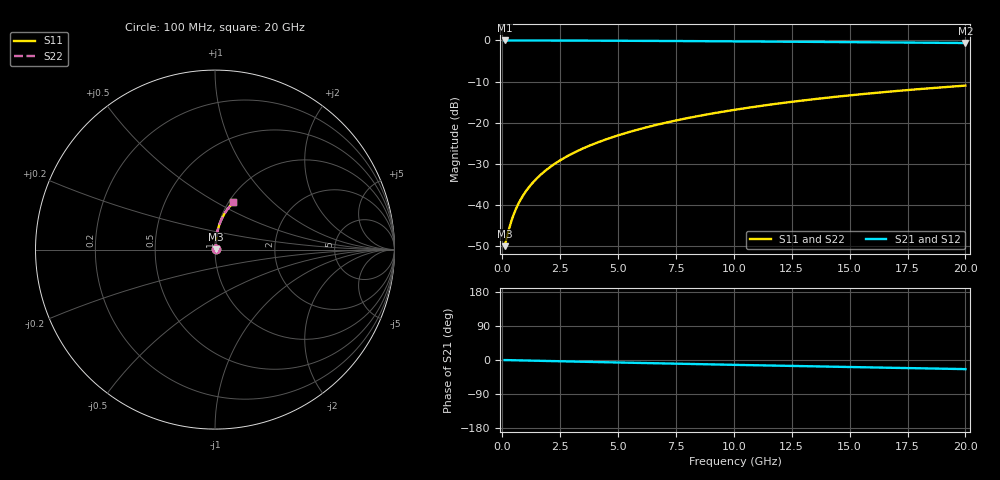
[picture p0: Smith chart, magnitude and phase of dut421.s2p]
! Touchstone file exported from HFSS 2024.1.0
!  File:  C:/UserFiles/LocalFiles/RDL_TSV_Batchsim/temp_RDL_top_421_1779676003.aedt
!  Generated:  10:28:58 AM May 25, 2026
!  Design:  RDL_top
!  Project:  temp_RDL_top_421_1779676003
!  Setup:  Setup1
!  Solution:  Sweep
! Variables:
!  dtsv = 10.80580581um
!  hbump = 3um
!  htsv = 66.8um
!  ldown = 100um
!  lrdl = 288.21um
!  p = 40
!  p1 = 45.58um
!  rhole = 1um
!  t = 450um
!  tdown = 3.915915916um
!  trdl = 2.51um
!  wdown = 15.38538539um
!  wrdl = 15.78um
# GHz S MA R 50.000000
! Terminal data exported
! Port[1] = Box2_T1
! Port[2] = Box2_T2
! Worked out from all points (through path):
!   200 points, 100 MHz to 20 GHz, reference 50 ohm
!   highest |S21| = -0.02 dB at 100 MHz (marker M1); lowest = -0.6 dB at 20 GHz (marker M2)
!   group delay of S21, straight-line fit = 3.33 ps
!   lowest |S11| = -49.9 dB at 100 MHz (marker M3), VSWR 1.01, Z = 50.3 + j0.148 ohm
!   |S11| at or under -10 dB: start of sweep to end of sweep
!   |S22| runs from -49.9 to -11.0 dB; largest |S21 - S12| = 3.4e-15
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0.1  0.003182 27.6  0.9972 -0.1  0.9972 -0.1  0.003182 27.6
! Gamma 0 0 0 0
! Port Impedance 50 0 50 0
0.3  0.005266 56.2  0.9971 -0.4  0.9971 -0.4  0.005266 56.2
0.4  0.006525 62.6  0.997 -0.6  0.997 -0.6  0.006525 62.6
0.5  0.007824 66.8  0.9969 -0.7  0.9969 -0.7  0.007824 66.8
0.6  0.00914 69.9  0.9968 -0.8  0.9968 -0.8  0.009141 69.9
0.7  0.01047 72.1  0.9967 -1.0  0.9967 -1.0  0.01047 72.1
0.9  0.01314 75.3  0.9965 -1.2  0.9965 -1.2  0.01314 75.3
1.2  0.01719 78.3  0.9962 -1.6  0.9962 -1.6  0.01719 78.3
1.4  0.0199 79.5  0.996 -1.9  0.996 -1.9  0.0199 79.5
1.7  0.024 80.9  0.9957 -2.3  0.9957 -2.3  0.024 80.9
2.2  0.03088 82.3  0.995 -2.9  0.995 -2.9  0.03088 82.3
2.8  0.03921 83.2  0.9941 -3.7  0.9941 -3.7  0.03921 83.2
3.5  0.04901 83.7  0.9927 -4.7  0.9927 -4.7  0.04901 83.7
4.2  0.05891 83.8  0.9912 -5.6  0.9912 -5.6  0.05891 83.8
5  0.07033 83.7  0.9891 -6.6  0.9891 -6.6  0.07033 83.7
5.9  0.0833 83.3  0.9866 -7.7  0.9866 -7.7  0.0833 83.3
6.8  0.09638 82.7  0.9838 -8.9  0.9838 -8.9  0.09638 82.7
8.4  0.1198 81.4  0.9783 -10.8  0.9783 -10.8  0.1198 81.5
10.1  0.1447 79.8  0.9719 -12.9  0.9719 -12.9  0.1447 79.8
13.4  0.1924 76.3  0.9585 -16.7  0.9585 -16.7  0.1925 76.3
16.7  0.2386 72.6  0.9439 -20.4  0.9439 -20.4  0.2386 72.6
20  0.2825 68.9  0.9285 -24.0  0.9285 -24.0  0.2825 68.9
